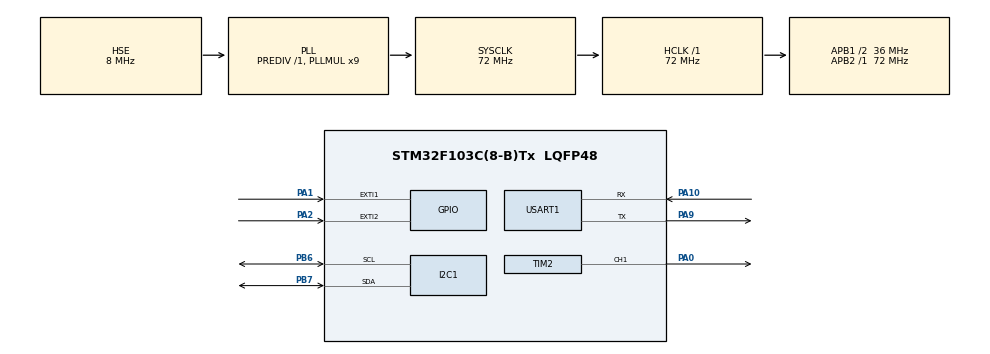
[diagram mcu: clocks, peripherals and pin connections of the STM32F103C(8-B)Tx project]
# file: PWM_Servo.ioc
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Dma.I2C1_TX.0.Direction=DMA_MEMORY_TO_PERIPH
Dma.I2C1_TX.0.Instance=DMA1_Channel6
Dma.I2C1_TX.0.MemDataAlignment=DMA_MDATAALIGN_BYTE
Dma.I2C1_TX.0.MemInc=DMA_MINC_ENABLE
Dma.I2C1_TX.0.Mode=DMA_NORMAL
Dma.I2C1_TX.0.PeriphDataAlignment=DMA_PDATAALIGN_BYTE
Dma.I2C1_TX.0.PeriphInc=DMA_PINC_DISABLE
Dma.I2C1_TX.0.Priority=DMA_PRIORITY_LOW
Dma.Request0=I2C1_TX
Dma.Request1=USART1_TX
Dma.USART1_TX.1.Direction=DMA_MEMORY_TO_PERIPH
Dma.USART1_TX.1.Instance=DMA1_Channel4
Dma.USART1_TX.1.MemDataAlignment=DMA_MDATAALIGN_BYTE
Dma.USART1_TX.1.MemInc=DMA_MINC_ENABLE
Dma.USART1_TX.1.Mode=DMA_NORMAL
Dma.USART1_TX.1.PeriphDataAlignment=DMA_PDATAALIGN_BYTE
Dma.USART1_TX.1.PeriphInc=DMA_PINC_DISABLE
Dma.USART1_TX.1.Priority=DMA_PRIORITY_LOW
Mcu.Family=STM32F1
Mcu.Name=STM32F103C(8-B)Tx
Mcu.Package=LQFP48
NVIC.DMA1_Channel4_IRQn=true\:0\:0\:false\:false\:true\:false\:true\:true
NVIC.DMA1_Channel6_IRQn=true\:0\:0\:false\:false\:true\:false\:true\:true
NVIC.EXTI1_IRQn=true\:15\:0\:true\:false\:true\:true\:true\:true
NVIC.EXTI2_IRQn=true\:15\:0\:true\:false\:true\:true\:true\:true
NVIC.PriorityGroup=NVIC_PRIORITYGROUP_4
PA0-WKUP.Signal=S_TIM2_CH1_ETR
PA1.GPIO_ModeDefaultEXTI=GPIO_MODE_IT_FALLING
PA1.GPIO_PuPd=GPIO_PULLUP
PA1.Signal=GPXTI1
PA10.Mode=Asynchronous
PA10.Signal=USART1_RX
PA13.Mode=Serial_Wire
PA13.Signal=SYS_JTMS-SWDIO
PA14.Mode=Serial_Wire
PA14.Signal=SYS_JTCK-SWCLK
PA2.GPIO_ModeDefaultEXTI=GPIO_MODE_IT_FALLING
PA2.GPIO_PuPd=GPIO_PULLUP
PA2.Signal=GPXTI2
PA9.Mode=Asynchronous
PA9.Signal=USART1_TX
PB6.Mode=I2C
PB6.Signal=I2C1_SCL
PB7.Mode=I2C
PB7.Signal=I2C1_SDA
PC14-OSC32_IN.Mode=LSE-External-Oscillator
PC14-OSC32_IN.Signal=RCC_OSC32_IN
PC15-OSC32_OUT.Mode=LSE-External-Oscillator
PC15-OSC32_OUT.Signal=RCC_OSC32_OUT
PD0-OSC_IN.Mode=HSE-External-Oscillator
PD0-OSC_IN.Signal=RCC_OSC_IN
PD1-OSC_OUT.Mode=HSE-External-Oscillator
PD1-OSC_OUT.Signal=RCC_OSC_OUT
ProjectManager.HeapSize=0x200
ProjectManager.StackSize=0x400
ProjectManager.TargetToolchain=CMake
RCC.AHBFreq_Value=72000000
RCC.APB1CLKDivider=RCC_HCLK_DIV2
RCC.APB1Freq_Value=36000000
RCC.APB1TimFreq_Value=72000000
RCC.APB2Freq_Value=72000000
RCC.APB2TimFreq_Value=72000000
RCC.HCLKFreq_Value=72000000
RCC.PLLMUL=RCC_PLL_MUL9
RCC.PLLSourceVirtual=RCC_PLLSOURCE_HSE
RCC.SYSCLKFreq_VALUE=72000000
RCC.SYSCLKSource=RCC_SYSCLKSOURCE_PLLCLK
RCC.USBFreq_Value=72000000
SH.S_TIM2_CH1_ETR.0=TIM2_CH1,PWM Generation1 CH1
TIM2.Channel-PWM\ Generation1\ CH1=TIM_CHANNEL_1
TIM2.Period=2000-1
TIM2.Prescaler=720-1
USART1.VirtualMode=VM_ASYNC
board=custom

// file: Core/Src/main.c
/* USER CODE BEGIN Header */
/**
  ******************************************************************************
  * @file           : main.c
  * @brief          : Main program body
  ******************************************************************************
  * @attention
  *
  * Copyright (c) 2026 STMicroelectronics.
  * All rights reserved.
  *
  * This software is licensed under terms that can be found in the LICENSE file
  * in the root directory of this software component.
  * If no LICENSE file comes with this software, it is provided AS-IS.
  *
  ******************************************************************************
  */
/* USER CODE END Header */
#include "main.h"
#include "dma.h"
#include "i2c.h"
#include "tim.h"
#include "usart.h"
#include "gpio.h"

/* USER CODE BEGIN Includes */

#include <OLED.h>
#include <stdio.h>
#include <string.h>

/* USER CODE END Includes */

/* USER CODE BEGIN PV */

uint8_t refresh = 0;//1为刷新，0为忽略

int duty = 0;
uint32_t time = 0;
uint32_t relative_time = 0;
int angle =0,angle_previous = 0;
uint16_t delta =45;

/* USER CODE END PV */

void SystemClock_Config(void);

int main(void)
{

  /* MCU Configuration--------------------------------------------------------*/

  /* Reset of all peripherals, Initializes the Flash interface and the Systick. */
  HAL_Init();

  /* Configure the system clock */
  SystemClock_Config();

  /* Initialize all configured peripherals */
  MX_GPIO_Init();
  MX_DMA_Init();
  MX_I2C1_Init();
  MX_USART1_UART_Init();
  MX_TIM2_Init();
  /* USER CODE BEGIN 2 */

  /*OLED初始化*/
  OLED_Init();
  OLED_Full();
  OLED_Clear();
  /* 第 1 行：目标角度，位宽固定 3 位 */
  OLED_ShowString(1, 1,  "Target:");
  OLED_ShowNum(1, 9, angle, 3);
  OLED_ShowString(1, 12, "deg");
  /* 第 2 行：CCR */
  OLED_ShowString(2, 1,  "CCR   :");
  OLED_ShowNum(2, 9, duty, 4);
  /* 第 3 行：脉宽，拆成整数和小数两部分显示，避开浮点打印 */
  OLED_ShowString(3, 1,  "Pulse :");
  OLED_ShowNum(3, 9, duty / 1000, 1);
  OLED_ShowString(3, 10, ".");
  OLED_ShowNum(3, 11, duty % 1000, 3);
  OLED_ShowString(3, 14, "ms");

  HAL_TIM_PWM_Start(&htim2, TIM_CHANNEL_1);

  /* USER CODE END 2 */

  /* Infinite loop */
  /* USER CODE BEGIN WHILE */
  while (1)
  {
    relative_time = HAL_GetTick() - time;
    if (relative_time > 1000)
    {
      angle += delta;
      time = HAL_GetTick();
    }

    if (angle > 180)
    {
      angle -=180;
      if (angle == 45)
      {
        angle = 0;
      }
    }
    duty = 50 + ((float)angle/180)*200;
    __HAL_TIM_SET_COMPARE(&htim2, TIM_CHANNEL_1, duty);

    /*OLED刷新&串口发送*/
    if (angle!=angle_previous)
    {
      OLED_ShowNum(1, 9, angle,3);
      OLED_ShowNum(2, 9, duty, 4);
      OLED_ShowNum(3, 9, duty / 100, 1);
      OLED_ShowNum(3, 11, duty % 100, 2);
      angle_previous = angle;

      char msg[96];
      snprintf(msg, sizeof(msg),
               "Target:%d deg\r\n"
               "CCR   :%d\r\n"
               "Pulse :%d.%03d ms\r\n\r\n",
               angle,
               duty,
               duty / 100, (duty * 10) % 1000);

      HAL_UART_Transmit(&huart1, (uint8_t *)msg, strlen(msg), 100);
      angle_previous = angle;

    }
    /* USER CODE END WHILE */

  }
}

void SystemClock_Config(void)
{
  RCC_OscInitTypeDef RCC_OscInitStruct = {0};
  RCC_ClkInitTypeDef RCC_ClkInitStruct = {0};

  /** Initializes the RCC Oscillators according to the specified parameters
  * in the RCC_OscInitTypeDef structure.
  */
  RCC_OscInitStruct.OscillatorType = RCC_OSCILLATORTYPE_HSE;
  RCC_OscInitStruct.HSEState = RCC_HSE_ON;
  RCC_OscInitStruct.HSEPredivValue = RCC_HSE_PREDIV_DIV1;
  RCC_OscInitStruct.HSIState = RCC_HSI_ON;
  RCC_OscInitStruct.PLL.PLLState = RCC_PLL_ON;
  RCC_OscInitStruct.PLL.PLLSource = RCC_PLLSOURCE_HSE;
  RCC_OscInitStruct.PLL.PLLMUL = RCC_PLL_MUL9;
  if (HAL_RCC_OscConfig(&RCC_OscInitStruct) != HAL_OK)
  {
    Error_Handler();
  }

  /** Initializes the CPU, AHB and APB buses clocks
  */
  RCC_ClkInitStruct.ClockType = RCC_CLOCKTYPE_HCLK|RCC_CLOCKTYPE_SYSCLK
                              |RCC_CLOCKTYPE_PCLK1|RCC_CLOCKTYPE_PCLK2;
  RCC_ClkInitStruct.SYSCLKSource = RCC_SYSCLKSOURCE_PLLCLK;
  RCC_ClkInitStruct.AHBCLKDivider = RCC_SYSCLK_DIV1;
  RCC_ClkInitStruct.APB1CLKDivider = RCC_HCLK_DIV2;
  RCC_ClkInitStruct.APB2CLKDivider = RCC_HCLK_DIV1;

  if (HAL_RCC_ClockConfig(&RCC_ClkInitStruct, FLASH_LATENCY_2) != HAL_OK)
  {
    Error_Handler();
  }
}

void Error_Handler(void)
{
  __disable_irq();
  while (1)
  {
  }
}
